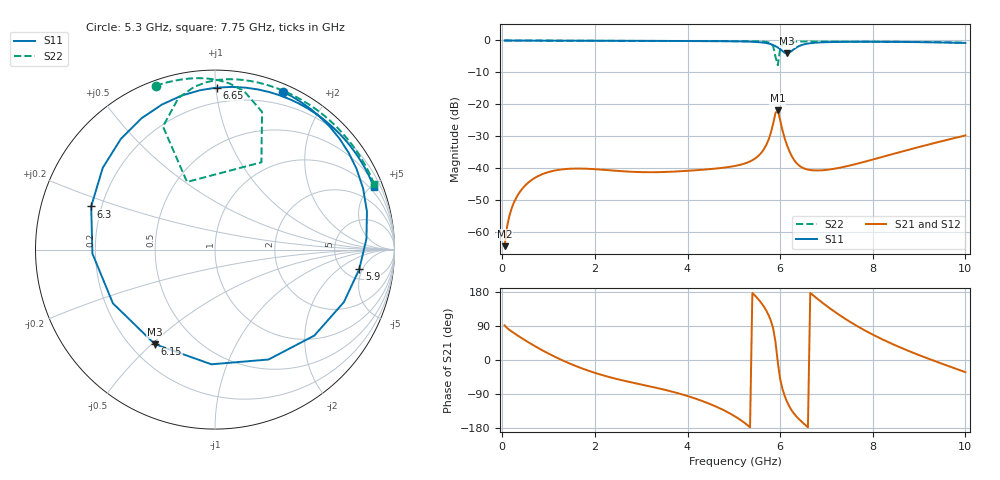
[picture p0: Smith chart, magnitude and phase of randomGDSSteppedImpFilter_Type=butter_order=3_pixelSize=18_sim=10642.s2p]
! freq	dB(S11)	phase(S11)	dB(S12)	phase(S12)
!  dB(S21)	phase(S21)	dB(S22)	phase(S22)
!S-par simulation data
#  GHz  S  DB  R 50
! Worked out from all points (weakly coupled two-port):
!   200 points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, 50 MHz to 10 GHz, reference 50 ohm
!   highest |S21| = -21.92 dB at 5.95 GHz (marker M1); lowest = -64.4 dB at 50 MHz (marker M2)
!   lowest |S11| = -4.1 dB at 6.15 GHz (marker M3), VSWR 4.32, Z = 14.8 - j25.6 ohm
!   |S11| at or under -10 dB: nowhere
!   |S22| runs from -7.8 to 0.0 dB; largest |S21 - S12| = 0
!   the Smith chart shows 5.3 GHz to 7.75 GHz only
!   S11 on the Smith chart (normalised r, x): 5.3 GHz: 0.07, +1.52; 5.9 GHz: 6.78, -4.33; 6.15 GHz: 0.30, -0.51; 6.3 GHz: 0.16, +0.17; 6.65 GHz: 0.10, +1.00; 7.75 GHz: 0.70, +5.14
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0.05  -0.05 -4.5  -64.44 91.5  -64.44 91.5  -0.02 -3.4
0.2  -0.05 -17.5  -52.69 75.5  -52.69 75.5  -0.04 -14.0
0.5  -0.07 -43.0  -45.35 51.5  -45.35 51.5  -0.05 -34.7
1.05  -0.09 -85.0  -41.02 13.7  -41.02 13.7  -0.08 -70.2
1.75  -0.12 -128.5  -40.16 -23.5  -40.16 -23.5  -0.11 -109.0
2.55  -0.14 -168.3  -40.93 -52.4  -40.93 -52.4  -0.14 -145.9
3.4  -0.16 155.2  -41.25 -75.5  -41.25 -75.5  -0.16 -179.5
5.05  -0.30 81.9  -39.25 -150.7  -39.25 -150.7  -0.23 119.8
5.3  -0.38 66.7  -38.21 -172.4  -38.21 -172.4  -0.26 109.9
5.75  -0.98 22.5  -31.11 118.6  -31.11 118.6  -0.62 85.2
5.9  -1.82 -7.7  -22.67 47.2  -22.67 47.2  -5.18 62.0
5.95  -2.21 -22.1  -21.92 -7.2  -21.92 -7.2  -7.79 112.5
6.05  -3.34 -64.1  -28.18 -76.4  -28.18 -76.4  -1.22 103.6
6.15  -4.09 -122.4  -32.90 -110.5  -32.90 -110.5  -0.59 92.7
6.3  -2.73 160.8  -37.43 -141.6  -37.43 -141.6  -0.39 83.1
6.45  -1.53 119.3  -39.62 -161.2  -39.62 -161.2  -0.35 75.7
6.65  -0.89 89.4  -40.60 177.1  -40.60 177.1  -0.33 66.9
6.7  -0.81 84.1  -40.68 171.9  -40.68 171.9  -0.32 64.8
7.15  -0.50 51.0  -40.24 129.7  -40.24 129.7  -0.33 46.4
7.75  -0.43 21.6  -38.29 83.4  -38.29 83.4  -0.37 22.5
8.35  -0.46 -2.5  -35.92 46.3  -35.92 46.3  -0.42 -1.1
10  -0.80 -58.8  -29.78 -32.1  -29.78 -32.1  -0.71 -63.4
